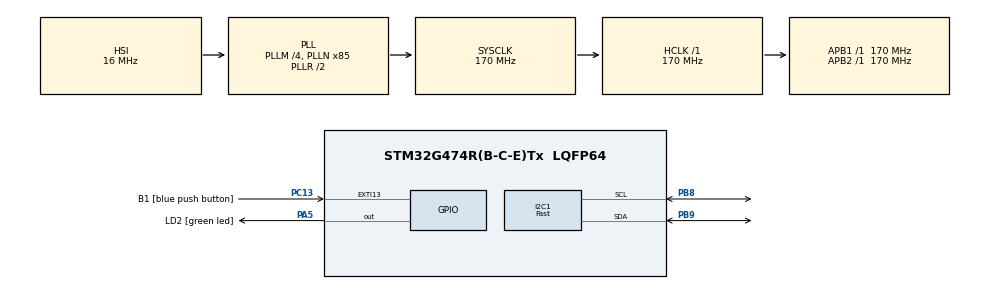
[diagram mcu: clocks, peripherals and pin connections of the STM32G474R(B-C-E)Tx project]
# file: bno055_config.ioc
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Dma.I2C1_RX.0.Direction=DMA_PERIPH_TO_MEMORY
Dma.I2C1_RX.0.EventEnable=DISABLE
Dma.I2C1_RX.0.Instance=DMA1_Channel1
Dma.I2C1_RX.0.MemDataAlignment=DMA_MDATAALIGN_BYTE
Dma.I2C1_RX.0.MemInc=DMA_MINC_ENABLE
Dma.I2C1_RX.0.Mode=DMA_NORMAL
Dma.I2C1_RX.0.PeriphDataAlignment=DMA_PDATAALIGN_BYTE
Dma.I2C1_RX.0.PeriphInc=DMA_PINC_DISABLE
Dma.I2C1_RX.0.Polarity=HAL_DMAMUX_REQ_GEN_RISING
Dma.I2C1_RX.0.Priority=DMA_PRIORITY_LOW
Dma.I2C1_RX.0.RequestNumber=1
Dma.I2C1_RX.0.SignalID=NONE
Dma.I2C1_RX.0.SyncEnable=DISABLE
Dma.I2C1_RX.0.SyncPolarity=HAL_DMAMUX_SYNC_NO_EVENT
Dma.I2C1_RX.0.SyncRequestNumber=1
Dma.I2C1_RX.0.SyncSignalID=NONE
Dma.I2C1_TX.1.Direction=DMA_MEMORY_TO_PERIPH
Dma.I2C1_TX.1.EventEnable=DISABLE
Dma.I2C1_TX.1.Instance=DMA1_Channel2
Dma.I2C1_TX.1.MemDataAlignment=DMA_MDATAALIGN_BYTE
Dma.I2C1_TX.1.MemInc=DMA_MINC_ENABLE
Dma.I2C1_TX.1.Mode=DMA_NORMAL
Dma.I2C1_TX.1.PeriphDataAlignment=DMA_PDATAALIGN_BYTE
Dma.I2C1_TX.1.PeriphInc=DMA_PINC_DISABLE
Dma.I2C1_TX.1.Polarity=HAL_DMAMUX_REQ_GEN_RISING
Dma.I2C1_TX.1.Priority=DMA_PRIORITY_LOW
Dma.I2C1_TX.1.RequestNumber=1
Dma.I2C1_TX.1.SignalID=NONE
Dma.I2C1_TX.1.SyncEnable=DISABLE
Dma.I2C1_TX.1.SyncPolarity=HAL_DMAMUX_SYNC_NO_EVENT
Dma.I2C1_TX.1.SyncRequestNumber=1
Dma.I2C1_TX.1.SyncSignalID=NONE
Dma.Request0=I2C1_RX
Dma.Request1=I2C1_TX
I2C1.I2C_Speed_Mode=I2C_Fast
I2C1.Timing=0x40621236
Mcu.Family=STM32G4
Mcu.Name=STM32G474R(B-C-E)Tx
Mcu.Package=LQFP64
NVIC.DMA1_Channel1_IRQn=true\:0\:0\:false\:false\:true\:false\:true\:true
NVIC.DMA1_Channel2_IRQn=true\:0\:0\:false\:false\:true\:false\:true\:true
NVIC.EXTI15_10_IRQn=true\:0\:0\:false\:false\:true\:true\:true\:true
NVIC.I2C1_ER_IRQn=true\:0\:0\:false\:false\:true\:true\:true\:true
NVIC.I2C1_EV_IRQn=true\:0\:0\:false\:false\:true\:true\:true\:true
NVIC.PriorityGroup=NVIC_PRIORITYGROUP_4
NVIC.TIM2_IRQn=true\:0\:0\:false\:false\:true\:true\:true\:true
PA13.GPIO_Label=T_SWDIO
PA13.Signal=SYS_JTMS-SWDIO
PA14.GPIO_Label=T_SWCLK
PA14.Signal=SYS_JTCK-SWCLK
PA2.GPIO_Label=LPUART1_TX [STLINKV3E_VCP_RX]
PA2.Signal=LPUART1_TX
PA3.GPIO_Label=LPUART1_RX [STLINKV3E_VCP_TX]
PA3.Signal=LPUART1_RX
PA5.GPIO_Label=LD2 [green led]
PA5.Signal=GPIO_Output
PB3.GPIO_Label=T_SWO
PB3.Signal=SYS_JTDO-SWO
PB8-BOOT0.Mode=I2C
PB8-BOOT0.Signal=I2C1_SCL
PB9.Mode=I2C
PB9.Signal=I2C1_SDA
PC13.GPIO_Label=B1 [blue push button]
PC13.Signal=GPXTI13
PC14-OSC32_IN.GPIO_Label=RCC_OSC32_IN
PC14-OSC32_IN.Signal=RCC_OSC32_IN
PC15-OSC32_OUT.GPIO_Label=RCC_OSC32_OUT
PC15-OSC32_OUT.Signal=RCC_OSC32_OUT
PF0-OSC_IN.GPIO_Label=RCC_OSC_IN
PF0-OSC_IN.Signal=RCC_OSC_IN
PF1-OSC_OUT.GPIO_Label=RCC_OSC_OUT
PF1-OSC_OUT.Signal=RCC_OSC_OUT
ProjectManager.HeapSize=0x200
ProjectManager.StackSize=0x400
ProjectManager.TargetToolchain=STM32CubeIDE
RCC.ADC12Freq_Value=170000000
RCC.ADC345Freq_Value=170000000
RCC.AHBFreq_Value=170000000
RCC.APB1Freq_Value=170000000
RCC.APB1TimFreq_Value=170000000
RCC.APB2Freq_Value=170000000
RCC.APB2TimFreq_Value=170000000
RCC.CortexFreq_Value=170000000
RCC.EXTERNAL_CLOCK_VALUE=12288000
RCC.HCLKFreq_Value=170000000
RCC.HSE_VALUE=24000000
RCC.HSI48_VALUE=48000000
RCC.HSI_VALUE=16000000
RCC.LSE_VALUE=32768
RCC.PLLM=RCC_PLLM_DIV4
RCC.PLLN=85
RCC.RTCClockSelection=RCC_RTCCLKSOURCE_LSE
RCC.SYSCLKFreq_VALUE=170000000
RCC.SYSCLKSource=RCC_SYSCLKSOURCE_PLLCLK
RCC.USBFreq_Value=170000000
RCC.VCOOutputFreq_Value=340000000
TIM2.PeriodNoDither=9999
TIM2.Prescaler=169
VP_SYS_VS_DBSignals.Mode=DisableDeadBatterySignals
VP_TIM2_VS_ClockSourceINT.Mode=Internal
board=NUCLEO-G474RE

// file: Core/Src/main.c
/* USER CODE BEGIN Header */
/**
 ******************************************************************************
 * @file           : main.c
 * @brief          : Main program body
 ******************************************************************************
 * @attention
 *
 * Copyright (c) 2025 STMicroelectronics.
 * All rights reserved.
 *
 * This software is licensed under terms that can be found in the LICENSE file
 * in the root directory of this software component.
 * If no LICENSE file comes with this software, it is provided AS-IS.
 *
 ******************************************************************************
 */
/* USER CODE END Header */
#include "main.h"
#include "dma.h"
#include "i2c.h"
#include "tim.h"
#include "gpio.h"

/* USER CODE BEGIN Includes */
#include "BNO055.h"
/* USER CODE END Includes */

/* USER CODE BEGIN PV */
BNO055_t bno;

uint8_t sensor_found = 0;
volatile uint8_t calibration_mode = 0;
uint32_t calibration_start_time = 0;
calibration_data_t new_calib;

typedef enum {
    CALIB_STATE_IDLE = 0,
    CALIB_STATE_FLAT_UP,
    CALIB_STATE_FLAT_DOWN,
    CALIB_STATE_SIDE_LEFT,
    CALIB_STATE_SIDE_RIGHT,
    CALIB_STATE_FRONT_UP,
    CALIB_STATE_BACK_DOWN,
    CALIB_STATE_FIGURE_8,
    CALIB_STATE_COMPLETE,
    CALIB_STATE_FAILED
} calibration_state_t;

typedef struct {
    calibration_state_t state;
    uint32_t state_timer;
    uint32_t hold_time;
    uint8_t accel_done;
    uint8_t gyro_done;
    uint8_t mag_done;
    uint8_t retry_count;
} calibration_process_t;

calibration_process_t calib_process = {0};
/* USER CODE END PV */

void SystemClock_Config(void);

/* USER CODE BEGIN 0 */
void Start_Calibration(void) {
    calibration_mode = 1;
    calibration_start_time = HAL_GetTick();
    HAL_GPIO_WritePin(GPIOA, GPIO_PIN_5, GPIO_PIN_RESET);

    calib_process.state = CALIB_STATE_FLAT_UP;
    calib_process.state_timer = HAL_GetTick();
    calib_process.hold_time = 3000;
    calib_process.accel_done = 0;
    calib_process.gyro_done = 0;
    calib_process.mag_done = 0;
    calib_process.retry_count = 0;
}

void Update_LED_Pattern(uint8_t pattern) {
    static uint32_t led_timer = 0;
    static uint8_t led_count = 0;

    if (HAL_GetTick() - led_timer > 200) {
        led_timer = HAL_GetTick();
        if (led_count < pattern * 2) {
            HAL_GPIO_TogglePin(GPIOA, GPIO_PIN_5);
            led_count++;
        } else if (led_count > pattern * 2 + 4) {
            led_count = 0;
        } else {
            HAL_GPIO_WritePin(GPIOA, GPIO_PIN_5, GPIO_PIN_RESET);
            led_count++;
        }
    }
}

void Process_Calibration(void) {
    static uint32_t last_check = 0;

    if (HAL_GetTick() - last_check < 100)
        return;
    last_check = HAL_GetTick();

    BNO055_GetCalibrationStatus(&bno);

    if (bno.calib_status.gyro == 3 && !calib_process.gyro_done) {
        calib_process.gyro_done = 1;
    }

    if (bno.calib_status.accel == 3 && !calib_process.accel_done) {
        calib_process.accel_done = 1;
        calib_process.state = CALIB_STATE_FIGURE_8;
        calib_process.state_timer = HAL_GetTick();
    }

    if (bno.calib_status.mag == 3 && !calib_process.mag_done) {
        calib_process.mag_done = 1;
    }

    switch (calib_process.state) {
        case CALIB_STATE_FLAT_UP:
            Update_LED_Pattern(1);
            if (HAL_GetTick() - calib_process.state_timer > calib_process.hold_time) {
                calib_process.state = CALIB_STATE_FLAT_DOWN;
                calib_process.state_timer = HAL_GetTick();
            }
            break;

        case CALIB_STATE_FLAT_DOWN:
            Update_LED_Pattern(2);
            if (HAL_GetTick() - calib_process.state_timer > calib_process.hold_time) {
                calib_process.state = CALIB_STATE_SIDE_LEFT;
                calib_process.state_timer = HAL_GetTick();
            }
            break;

        case CALIB_STATE_SIDE_LEFT:
            Update_LED_Pattern(3);
            if (HAL_GetTick() - calib_process.state_timer > calib_process.hold_time) {
                calib_process.state = CALIB_STATE_SIDE_RIGHT;
                calib_process.state_timer = HAL_GetTick();
            }
            break;

        case CALIB_STATE_SIDE_RIGHT:
            Update_LED_Pattern(4);
            if (HAL_GetTick() - calib_process.state_timer > calib_process.hold_time) {
                calib_process.state = CALIB_STATE_FRONT_UP;
                calib_process.state_timer = HAL_GetTick();
            }
            break;

        case CALIB_STATE_FRONT_UP:
            Update_LED_Pattern(5);
            if (HAL_GetTick() - calib_process.state_timer > calib_process.hold_time) {
                calib_process.state = CALIB_STATE_BACK_DOWN;
                calib_process.state_timer = HAL_GetTick();
            }
            break;

        case CALIB_STATE_BACK_DOWN:
            Update_LED_Pattern(6);
            if (HAL_GetTick() - calib_process.state_timer > calib_process.hold_time) {
                if (bno.calib_status.accel < 3) {
                    calib_process.retry_count++;
                    if (calib_process.retry_count < 3) {
                        calib_process.state = CALIB_STATE_FLAT_UP;
                        calib_process.state_timer = HAL_GetTick();
                    } else {
                        calib_process.state = CALIB_STATE_FIGURE_8;
                        calib_process.state_timer = HAL_GetTick();
                    }
                } else {
                    calib_process.state = CALIB_STATE_FIGURE_8;
                    calib_process.state_timer = HAL_GetTick();
                }
            }
            break;

        case CALIB_STATE_FIGURE_8:
            HAL_GPIO_WritePin(GPIOA, GPIO_PIN_5, GPIO_PIN_SET);
            HAL_Delay(50);
            HAL_GPIO_WritePin(GPIOA, GPIO_PIN_5, GPIO_PIN_RESET);
            HAL_Delay(50);
            HAL_GPIO_WritePin(GPIOA, GPIO_PIN_5, GPIO_PIN_SET);
            HAL_Delay(50);
            HAL_GPIO_WritePin(GPIOA, GPIO_PIN_5, GPIO_PIN_RESET);

            if (bno.calib_status.mag == 3 || HAL_GetTick() - calib_process.state_timer > 30000) {
                if (bno.calib_status.system == 3 && bno.calib_status.gyro == 3
                    && bno.calib_status.accel == 3 && bno.calib_status.mag == 3) {
                    calib_process.state = CALIB_STATE_COMPLETE;
                } else if (HAL_GetTick() - calibration_start_time > 60000) {
                    calib_process.state = CALIB_STATE_FAILED;
                }
            }
            break;

        case CALIB_STATE_COMPLETE:
            HAL_GPIO_WritePin(GPIOA, GPIO_PIN_5, GPIO_PIN_SET);
            BNO055_GetCalibration(&bno, &new_calib);
            calibration_mode = 0;
            calib_process.state = CALIB_STATE_IDLE;
            break;

        case CALIB_STATE_FAILED:
            HAL_GPIO_WritePin(GPIOA, GPIO_PIN_5, GPIO_PIN_RESET);
            calibration_mode = 0;
            calib_process.state = CALIB_STATE_IDLE;
            break;

        case CALIB_STATE_IDLE:
        default:
            break;
    }

    if (calibration_mode && HAL_GetTick() - calibration_start_time > 120000) {
        calib_process.state = CALIB_STATE_FAILED;
    }
}

uint8_t Get_Calibration_State(void) {
    return calib_process.state;
}

void Get_Calibration_Info(uint8_t *state, uint8_t *sys, uint8_t *gyro, uint8_t *accel, uint8_t *mag) {
    *state = calib_process.state;
    *sys = bno.calib_status.system;
    *gyro = bno.calib_status.gyro;
    *accel = bno.calib_status.accel;
    *mag = bno.calib_status.mag;
}
/* USER CODE END 0 */

int main(void) {

	/* MCU Configuration--------------------------------------------------------*/

	/* Reset of all peripherals, Initializes the Flash interface and the Systick. */
	HAL_Init();

	/* Configure the system clock */
	SystemClock_Config();

	/* Initialize all configured peripherals */
	MX_GPIO_Init();
	MX_DMA_Init();
	MX_I2C1_Init();
	MX_TIM2_Init();
	/* USER CODE BEGIN 2 */
	if (BNO055_Init(&bno, &hi2c1, 0) != HAL_OK) {
			Error_Handler();
		}

	BNO055_SetAxisRemap(&bno, AXIS_REMAP_P1, AXIS_REMAP_SIGN_P1);
	/* USER CODE END 2 */

	/* Infinite loop */
	while (1) {

		/* USER CODE BEGIN 3 */
		static uint32_t last_update = 0;
		if (HAL_GetTick() - last_update > 100) {
			last_update = HAL_GetTick();
			BNO055_Update(&bno);
		}

		if (calibration_mode) {
			Process_Calibration();
		}
	}
	/* USER CODE END 3 */
}

void SystemClock_Config(void) {
	RCC_OscInitTypeDef RCC_OscInitStruct = { 0 };
	RCC_ClkInitTypeDef RCC_ClkInitStruct = { 0 };

	/** Configure the main internal regulator output voltage
	 */
	HAL_PWREx_ControlVoltageScaling(PWR_REGULATOR_VOLTAGE_SCALE1_BOOST);

	/** Initializes the RCC Oscillators according to the specified parameters
	 * in the RCC_OscInitTypeDef structure.
	 */
	RCC_OscInitStruct.OscillatorType = RCC_OSCILLATORTYPE_HSI;
	RCC_OscInitStruct.HSIState = RCC_HSI_ON;
	RCC_OscInitStruct.HSICalibrationValue = RCC_HSICALIBRATION_DEFAULT;
	RCC_OscInitStruct.PLL.PLLState = RCC_PLL_ON;
	RCC_OscInitStruct.PLL.PLLSource = RCC_PLLSOURCE_HSI;
	RCC_OscInitStruct.PLL.PLLM = RCC_PLLM_DIV4;
	RCC_OscInitStruct.PLL.PLLN = 85;
	RCC_OscInitStruct.PLL.PLLP = RCC_PLLP_DIV2;
	RCC_OscInitStruct.PLL.PLLQ = RCC_PLLQ_DIV2;
	RCC_OscInitStruct.PLL.PLLR = RCC_PLLR_DIV2;
	if (HAL_RCC_OscConfig(&RCC_OscInitStruct) != HAL_OK) {
		Error_Handler();
	}

	/** Initializes the CPU, AHB and APB buses clocks
	 */
	RCC_ClkInitStruct.ClockType = RCC_CLOCKTYPE_HCLK | RCC_CLOCKTYPE_SYSCLK
			| RCC_CLOCKTYPE_PCLK1 | RCC_CLOCKTYPE_PCLK2;
	RCC_ClkInitStruct.SYSCLKSource = RCC_SYSCLKSOURCE_PLLCLK;
	RCC_ClkInitStruct.AHBCLKDivider = RCC_SYSCLK_DIV1;
	RCC_ClkInitStruct.APB1CLKDivider = RCC_HCLK_DIV1;
	RCC_ClkInitStruct.APB2CLKDivider = RCC_HCLK_DIV1;

	if (HAL_RCC_ClockConfig(&RCC_ClkInitStruct, FLASH_LATENCY_4) != HAL_OK) {
		Error_Handler();
	}
}

/* USER CODE BEGIN 4 */
void HAL_GPIO_EXTI_Callback(uint16_t GPIO_Pin) {
	if (GPIO_Pin == GPIO_PIN_13) {
		if (calibration_mode == 0) {
			Start_Calibration();
		}
	}
}

void HAL_I2C_MemRxCpltCallback(I2C_HandleTypeDef *hi2c) {
	if (hi2c == &hi2c1) {
		BNO055_ProcessDMA(&bno);
	}
}

void HAL_TIM_PeriodElapsedCallback(TIM_HandleTypeDef *htim) {
	if (htim == &htim2) {
//		if (bno.dma_ready) {
//			BNO055_UpdateDMA(&bno);
//		}
	}
}
/* USER CODE END 4 */

void Error_Handler(void) {
	__disable_irq();
	while (1) {
	}
}
